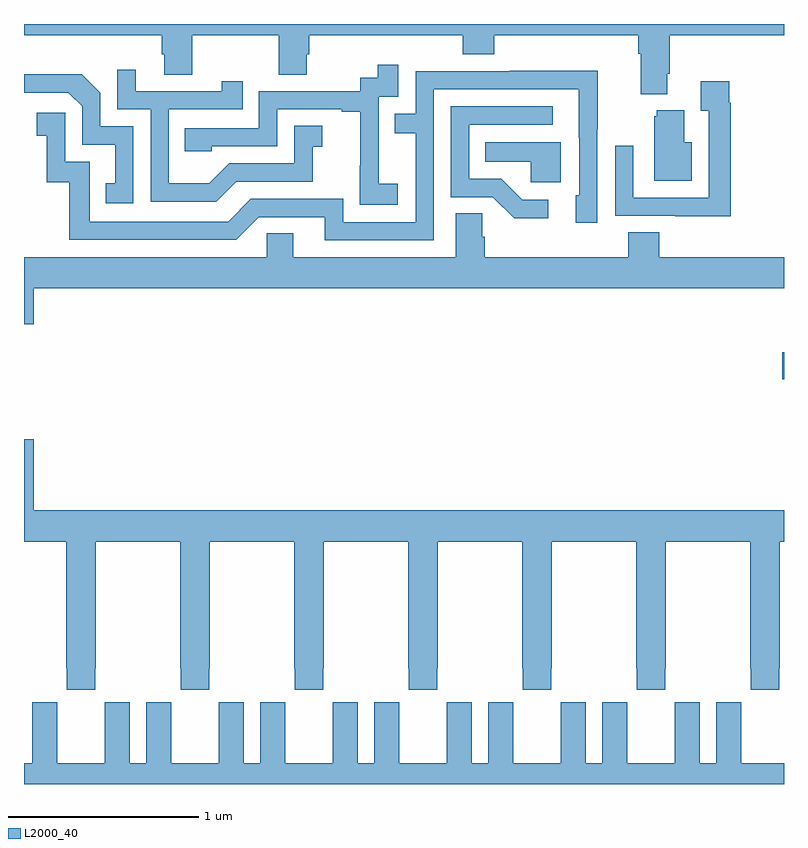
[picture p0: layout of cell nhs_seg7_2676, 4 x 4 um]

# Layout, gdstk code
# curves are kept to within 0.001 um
import gdstk
lib = gdstk.Library(unit=1e-6, precision=1e-09)
def R(c, l, rs):  # rectangles x0, y0, x1, y1
    for r in rs: c.add(gdstk.rectangle(r[:2], r[2:], *l))
def P(c, l, *ps):  # polygons
    for p in ps: c.add(gdstk.Polygon(p, *l))
L2000_40 = (2000, 40)

nhs_seg7_2676 = lib.new_cell('nhs_seg7_2676')
R(nhs_seg7_2676, L2000_40, [(288.99,1008.131,289,1008.273)])
P(nhs_seg7_2676, L2000_40, [(288.385,1009.738),(288.398,1009.738),(288.398,1009.94),(289,1009.94),(289,1010),(285,1010),(285,1009.94),(285.725,1009.94),(285.725,1009.842),(285.737,1009.842),(285.737,1009.732),(285.885,1009.732),(285.885,1009.94),(286.342,1009.94),(286.342,1009.732),(286.489,1009.732),(286.489,1009.842),(286.502,1009.842),(286.502,1009.94),(287.309,1009.94),(287.309,1009.841),(287.474,1009.841),(287.474,1009.94),(288.233,1009.94),(288.233,1009.844),(288.245,1009.844),(288.245,1009.631),(288.385,1009.631)],
  [(286.966,1009.159),(286.868,1009.159),(286.868,1009.388),(286.866,1009.388),(286.866,1009.617),(286.971,1009.617),(286.971,1009.786),(286.863,1009.786),(286.863,1009.716),(286.77,1009.716),(286.77,1009.647),(286.236,1009.647),(286.236,1009.452),(285.847,1009.452),(285.847,1009.329),(285.987,1009.329),(285.987,1009.356),(286.332,1009.356),(286.332,1009.551),(286.673,1009.551),(286.673,1009.539),(286.769,1009.539),(286.769,1009.255),(286.768,1009.255),(286.768,1009.049),(286.966,1009.049)],
  [(286.117,1009.17),(286.521,1009.17),(286.521,1009.355),(286.57,1009.355),(286.57,1009.465),(286.422,1009.465),(286.422,1009.266),(286.08,1009.266),(285.976,1009.162),(285.762,1009.162),(285.762,1009.551),(286.151,1009.551),(286.151,1009.699),(286.04,1009.699),(286.04,1009.647),(285.589,1009.647),(285.589,1009.759),(285.492,1009.759),(285.492,1009.551),(285.666,1009.551),(285.666,1009.065),(286.012,1009.065)],
  [(287.157,1009.656),(287.921,1009.656),(287.922,1009.098),(287.903,1009.098),(287.903,1008.954),(288.018,1008.954),(288.018,1009.447),(288.021,1009.447),(288.021,1009.754),(287.557,1009.754),(287.557,1009.752),(287.061,1009.752),(287.061,1009.527),(286.951,1009.527),(286.951,1009.426),(287.061,1009.426),(287.061,1008.957),(286.68,1008.957),(286.68,1009.08),(286.194,1009.08),(286.074,1008.96),(285.345,1008.96),(285.345,1009.275),(285.216,1009.275),(285.216,1009.534),(285.066,1009.534),(285.066,1009.413),(285.119,1009.413),(285.119,1009.167),(285.237,1009.167),(285.237,1008.864),(286.116,1008.864),(286.236,1008.984),(286.583,1008.984),(286.583,1008.861),(287.157,1008.861)],
  [(285.576,1009.461),(285.402,1009.461),(285.402,1009.638),(285.304,1009.736),(285,1009.736),(285,1009.638),(285.234,1009.638),(285.306,1009.566),(285.306,1009.365),(285.479,1009.365),(285.479,1009.161),(285.43,1009.161),(285.43,1009.056),(285.576,1009.056)],
  [(288.719,1009.586),(288.712,1009.586),(288.712,1009.699),(288.563,1009.699),(288.563,1009.543),(288.603,1009.543),(288.603,1009.086),(288.207,1009.086),(288.207,1009.36),(288.111,1009.36),(288.111,1008.99),(288.427,1008.99),(288.427,1008.989),(288.719,1008.989)],
  [(287.758,1009.074),(287.623,1009.074),(287.512,1009.185),(287.343,1009.185),(287.343,1009.47),(287.782,1009.47),(287.782,1009.566),(287.247,1009.566),(287.247,1009.089),(287.466,1009.089),(287.579,1008.977),(287.758,1008.977)],
  [(288.514,1009.378),(288.475,1009.378),(288.475,1009.546),(288.329,1009.546),(288.329,1009.515),(288.317,1009.515),(288.317,1009.175),(288.514,1009.175)],
  [(287.824,1009.378),(287.428,1009.378),(287.428,1009.274),(287.667,1009.274),(287.667,1009.166),(287.824,1009.166)],
  [(285.052,1008.608),(289,1008.608),(289,1008.772),(288.344,1008.772),(288.344,1008.905),(288.179,1008.905),(288.179,1008.772),(287.426,1008.772),(287.426,1008.881),(287.412,1008.881),(287.412,1009.004),(287.273,1009.004),(287.273,1008.772),(286.417,1008.772),(286.417,1008.899),(286.278,1008.899),(286.278,1008.772),(285,1008.772),(285,1008.42),(285.052,1008.42)],
  [(285.375,1006.609),(285.378,1006.609),(285.378,1007.276),(285.823,1007.276),(285.823,1006.609),(285.825,1006.609),(285.825,1006.497),(285.975,1006.497),(285.975,1006.609),(285.978,1006.609),(285.978,1007.276),(286.423,1007.276),(286.423,1006.609),(286.425,1006.609),(286.425,1006.497),(286.575,1006.497),(286.575,1006.609),(286.578,1006.609),(286.578,1007.276),(287.023,1007.276),(287.023,1006.609),(287.025,1006.609),(287.025,1006.497),(287.175,1006.497),(287.175,1006.609),(287.178,1006.609),(287.178,1007.276),(287.623,1007.276),(287.623,1006.609),(287.625,1006.609),(287.625,1006.497),(287.775,1006.497),(287.775,1006.609),(287.778,1006.609),(287.778,1007.276),(288.223,1007.276),(288.223,1006.609),(288.225,1006.609),(288.225,1006.497),(288.375,1006.497),(288.375,1006.609),(288.378,1006.609),(288.378,1007.276),(288.823,1007.276),(288.823,1006.609),(288.825,1006.609),(288.825,1006.497),(288.975,1006.497),(288.975,1006.609),(288.978,1006.609),(288.978,1007.276),(289,1007.276),(289,1007.44),(285.052,1007.44),(285.052,1007.815),(285,1007.815),(285,1007.276),(285.223,1007.276),(285.223,1006.609),(285.225,1006.609),(285.225,1006.497),(285.375,1006.497)],
  [(288.426,1006.429),(288.426,1006.316),(288.425,1006.316),(288.425,1006.108),(288.175,1006.108),(288.175,1006.316),(288.174,1006.316),(288.174,1006.429),(288.044,1006.429),(288.044,1006.108),(287.956,1006.108),(287.956,1006.429),(287.826,1006.429),(287.826,1006.316),(287.825,1006.316),(287.825,1006.108),(287.575,1006.108),(287.575,1006.316),(287.574,1006.316),(287.574,1006.429),(287.444,1006.429),(287.444,1006.108),(287.356,1006.108),(287.356,1006.429),(287.226,1006.429),(287.226,1006.316),(287.225,1006.316),(287.225,1006.108),(286.975,1006.108),(286.975,1006.316),(286.974,1006.316),(286.974,1006.429),(286.844,1006.429),(286.844,1006.108),(286.756,1006.108),(286.756,1006.429),(286.626,1006.429),(286.626,1006.316),(286.625,1006.316),(286.625,1006.108),(286.375,1006.108),(286.375,1006.316),(286.374,1006.316),(286.374,1006.429),(286.244,1006.429),(286.244,1006.108),(286.156,1006.108),(286.156,1006.429),(286.026,1006.429),(286.026,1006.316),(286.025,1006.316),(286.025,1006.108),(285.775,1006.108),(285.775,1006.316),(285.774,1006.316),(285.774,1006.429),(285.644,1006.429),(285.644,1006.108),(285.556,1006.108),(285.556,1006.429),(285.426,1006.429),(285.426,1006.316),(285.425,1006.316),(285.425,1006.108),(285.175,1006.108),(285.175,1006.316),(285.174,1006.316),(285.174,1006.429),(285.044,1006.429),(285.044,1006.108),(285,1006.108),(285,1006),(289,1006),(289,1006.108),(288.775,1006.108),(288.775,1006.316),(288.774,1006.316),(288.774,1006.429),(288.644,1006.429),(288.644,1006.108),(288.556,1006.108),(288.556,1006.429)])

lib.write_gds('nhs_seg7_2676.gds')
